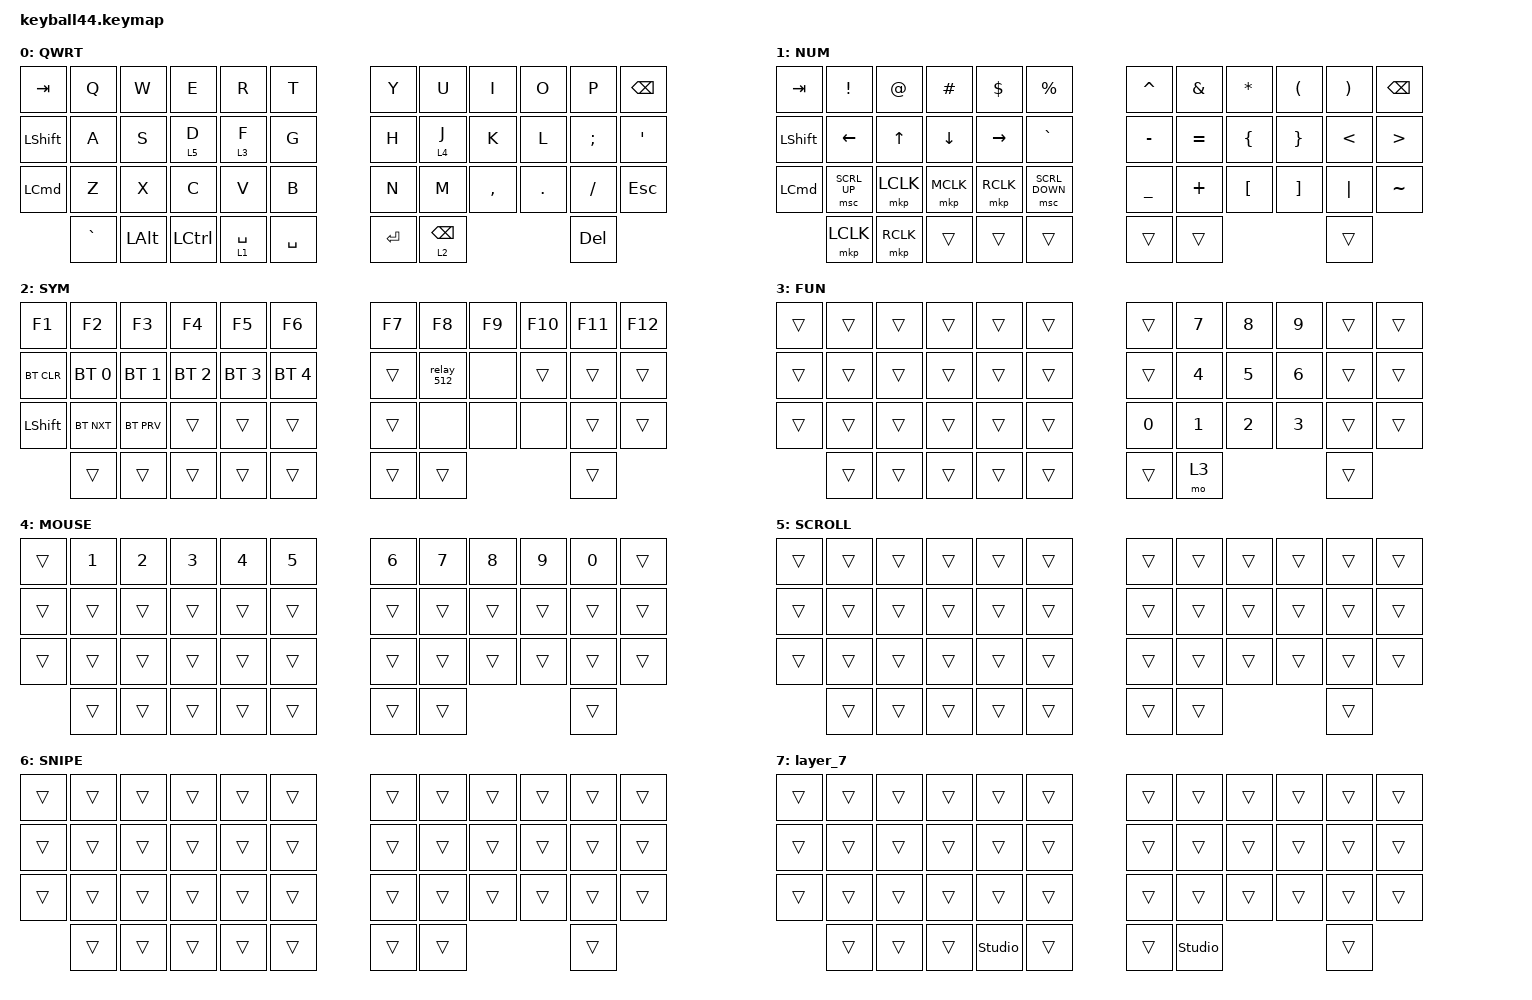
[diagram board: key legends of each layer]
#define DEFAULT 0
#define NUM     1
#define SYM     2
#define FUN     3
#define MOUSE   4
#define SCROLL  5
#define SNIPE   6

#include <behaviors/mouse_keys.dtsi>
#include <dt-bindings/zmk/mouse.h>
#include <behaviors.dtsi>
#include <dt-bindings/zmk/bt.h>
#include <dt-bindings/zmk/keys.h>
#include <dt-bindings/zmk/pointing.h>

&lt {
    tapping-term-ms = <240>;
    flavor = "balanced";
    quick-tap-ms = <150>;
};

&mt {
    tapping-term-ms = <200>;
    flavor = "tap-preferred";
    quick-tap-ms = <150>;
};

&caps_word { continue-list = <UNDERSCORE MINUS>; };

/ {
    // custom shift using mod-morph 

    behaviors {
        cmqus: comma_question {
            compatible = "zmk,behavior-mod-morph";
            label = "COMMA_QUESTION";
            #binding-cells = <0>;
            bindings = <&kp COMMA>, <&kp QUESTION>;

            mods = <(MOD_LSFT|MOD_RSFT)>;
        };

        dtsmi: dot_semi {
            compatible = "zmk,behavior-mod-morph";
            label = "DOT_SEMI";
            #binding-cells = <0>;
            bindings = <&kp DOT>, <&kp SEMI>;

            mods = <(MOD_LSFT|MOD_RSFT)>;
        };
    };

    macros {
        relay_512: relay_512 {
            compatible = "zmk,behavior-macro";
            #binding-cells = <0>;
            bindings =
                <&kp M &kp Y &kp R &kp E &kp L &kp A &kp Y>,
                <&macro_wait_time 1000>,
                <&kp RET &kp S>,
                <&macro_wait_time 20>,
                <&kp RET &kp N5 &kp N1>,
                <&macro_wait_time 500>,
                <&kp N2 &kp RET &kp N1 &kp RET>;

            label = "RELAY_512";
        };
    };

    keymap {
        compatible = "zmk,keymap";

        default_layer {
            label = "QWRT";

            // -----------------------------------------------------------------------------------------
            // |  TAB |  Q  |  W  |  E  |  R  |  T  |   |  Y  |  U   |  I  |  O  |  P  | BKSP |
            // | CTRL |  A  |  S  |  D  |  F  |  G  |   |  H  |  J   |  K  |  L  |  ;  |  '   |
            // | SHFT |  Z  |  X  |  C  |  V  |  B  |   |  N  |  M   |  ,  |  .  |  /  | ESC  |
            //                    | GUI | LWR | SPC |   | ENT | RSE  | ALT |

            bindings = <
&kp TAB           &kp Q     &kp W             &kp E        &kp R      &kp T                 &kp Y            &kp U    &kp I      &kp O    &kp P     &kp BSPC
&kp LEFT_SHIFT    &kp A     &kp S             &lt 5 D      &lt 3 F    &kp G                 &kp H            &lt 4 J  &kp K      &kp L    &kp SEMI  &kp SQT
&kp LEFT_COMMAND  &kp Z     &kp X             &kp C        &kp V      &kp B                 &kp N            &kp M    &kp COMMA  &kp DOT  &kp FSLH  &kp ESC
&kp GRAVE         &kp LALT  &kp LEFT_CONTROL  &lt 1 SPACE  &kp SPACE             &kp ENTER  &lt 2 BACKSPACE                                         &kp DELETE
            >;
        };

        number_layer {
            label = "NUM";

            // -----------------------------------------------------------------------------------------
            // |  TAB |  !  |  @  |  #  |  $  |  %  |   |  ^  |  &  |  *  |  (  |  )  | BKSP |
            // | CTRL |     |     |     |     |     |   |  -  |  =  |  [  |  ]  |  \  |  `   |
            // | SHFT |     |     |     |     |     |   |  _  |  +  |  {  |  }  | "|" |  ~   |
            //                    | GUI |     | SPC |   | ENT |     | ALT |

            bindings = <
&kp TAB           &kp EXCLAMATION  &kp AT_SIGN   &kp HASH        &kp DOLLAR       &kp PERCENT                 &kp CARET  &kp AMPERSAND  &kp ASTERISK      &kp LEFT_PARENTHESIS  &kp RIGHT_PARENTHESIS  &kp BSPC
&kp LEFT_SHIFT    &kp LEFT         &kp UP_ARROW  &kp DOWN_ARROW  &kp RIGHT_ARROW  &kp GRAVE                   &kp MINUS  &kp EQUAL      &kp LEFT_BRACE    &kp RIGHT_BRACE       &kp LESS_THAN          &kp GREATER_THAN
&kp LEFT_COMMAND  &msc SCRL_UP     &mkp LCLK     &mkp MCLK       &mkp RCLK        &msc SCRL_DOWN              &kp UNDER  &kp PLUS       &kp LEFT_BRACKET  &kp RIGHT_BRACKET     &kp PIPE               &kp TILDE
&mkp LCLK         &mkp RCLK        &trans        &trans          &trans                               &trans  &trans                                                                                   &trans
            >;
        };

        symbol_layer {
            label = "SYM";

            // -----------------------------------------------------------------------------------------
            // |  TAB |  1  |  2  |  3  |  4  |  5  |   |  6  |  7  |  8  |  9  |  0  | BKSP |
            // | BTCLR| BT1 | BT2 | BT3 | BT4 | BT5 |   | LFT | DWN |  UP | RGT |     |      |
            // | SHFT |     |     |     |     |     |   |     |     |     |     |     |      |
            //                    | GUI |     | SPC |   | ENT |     | ALT |

            bindings = <
&kp F1      &kp F2        &kp F3        &kp F4        &kp F5        &kp F6                    &kp F7  &kp F8      &kp F9  &kp F10  &kp F11  &kp F12
&bt BT_CLR  &bt BT_SEL 0  &bt BT_SEL 1  &bt BT_SEL 2  &bt BT_SEL 3  &bt BT_SEL 4              &trans  &relay_512  &none   &trans   &trans   &trans
&kp LSHFT   &bt BT_NXT    &bt BT_PRV    &trans        &trans        &trans                    &trans  &none       &none   &none    &trans   &trans
&trans      &trans        &trans        &trans        &trans                          &trans  &trans                                        &trans
            >;
        };

        function_layer {
            label = "FUN";
            bindings = <
&trans  &trans  &trans  &trans  &trans  &trans              &trans  &kp N7        &kp N8        &kp N9        &trans  &trans
&trans  &trans  &trans  &trans  &trans  &trans              &trans  &kp NUMBER_4  &kp N5        &kp NUMBER_6  &trans  &trans
&trans  &trans  &trans  &trans  &trans  &trans              &kp N0  &kp NUMBER_1  &kp NUMBER_2  &kp NUMBER_3  &trans  &trans
&trans  &trans  &trans  &trans  &trans              &trans  &mo 3                                                     &trans
            >;
        };

        mouse_layer {
            label = "MOUSE";
            bindings = <
&trans  &kp NUMBER_1  &kp NUMBER_2  &kp NUMBER_3  &kp NUMBER_4  &kp N5              &kp NUMBER_6  &kp N7  &kp N8  &kp N9  &kp N0  &trans
&trans  &trans        &trans        &trans        &trans        &trans              &trans        &trans  &trans  &trans  &trans  &trans
&trans  &trans        &trans        &trans        &trans        &trans              &trans        &trans  &trans  &trans  &trans  &trans
&trans  &trans        &trans        &trans        &trans                    &trans  &trans                                        &trans
            >;
        };

        scroll_layer {
            label = "SCROLL";
            bindings = <
&trans  &trans  &trans  &trans  &trans  &trans              &trans  &trans  &trans  &trans  &trans  &trans
&trans  &trans  &trans  &trans  &trans  &trans              &trans  &trans  &trans  &trans  &trans  &trans
&trans  &trans  &trans  &trans  &trans  &trans              &trans  &trans  &trans  &trans  &trans  &trans
&trans  &trans  &trans  &trans  &trans              &trans  &trans                                  &trans
            >;
        };

        snipe_layer {
            label = "SNIPE";
            bindings = <
&trans  &trans  &trans  &trans  &trans  &trans              &trans  &trans  &trans  &trans  &trans  &trans
&trans  &trans  &trans  &trans  &trans  &trans              &trans  &trans  &trans  &trans  &trans  &trans
&trans  &trans  &trans  &trans  &trans  &trans              &trans  &trans  &trans  &trans  &trans  &trans
&trans  &trans  &trans  &trans  &trans              &trans  &trans                                  &trans
            >;
        };

        layer_7 {
            bindings = <
&trans  &trans  &trans  &trans          &trans  &trans              &trans          &trans  &trans  &trans  &trans  &trans
&trans  &trans  &trans  &trans          &trans  &trans              &trans          &trans  &trans  &trans  &trans  &trans
&trans  &trans  &trans  &trans          &trans  &trans              &trans          &trans  &trans  &trans  &trans  &trans
&trans  &trans  &trans  &studio_unlock  &trans              &trans  &studio_unlock                                  &trans
            >;
        };
    };
};
